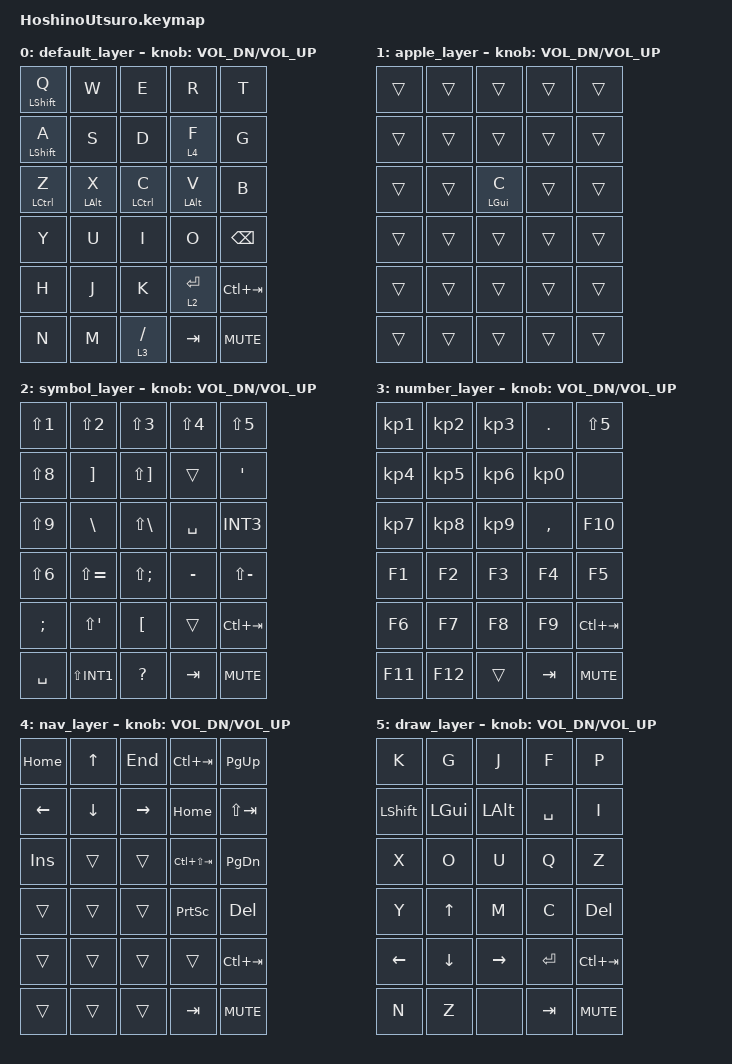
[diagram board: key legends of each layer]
/*
 * HoshinoUtsuro fixed base
 *
 * Physical thumb keys:
 *
 * LThumb = 現在単独で LALT を送っていたキー
 *        = key-position 28
 *        = 現在は TAB
 *
 * RThumb = 現在単独で LGUI を送っていたキー
 *        = key-position 24
 *        = 現在は Ctrl+Tab
 *
 * Encoder push = C_MUTE
 *        = key-position 29
 *        = 親指キーではない
 *
 * BLE / OS mode:
 * BLE0 / Windows  : C hold = LCTRL
 * BLE1 / iPad     : C hold = LGUI + Draw mode default
 * BLE2 / iPhone   : C hold = LGUI
 * BLE3 / MacBook  : C hold = LGUI
 * BLE4 / Default  : C hold = LCTRL
 *
 * Deep sleep restore:
 * Saved BLE profile is restored by profile_layer_restore.c.
 * If saved profile is BLE1, Apple layer + Draw layer are restored automatically.
 *
 * Pointing combo test:
 * ZX = Alt + Left Click hold
 * XC = Alt + Right Click hold
 * ZC = Alt + Middle Click hold
 */

#include <behaviors.dtsi>
#include <dt-bindings/zmk/keys.h>
#include <dt-bindings/zmk/bt.h>
#include <dt-bindings/zmk/pointing.h>

/ {
  behaviors {
    modtap_hp: modtap_hp {
      compatible = "zmk,behavior-hold-tap";
      #binding-cells = <2>;
      flavor = "tap-preferred";
      tapping-term-ms = <120>;
      quick-tap-ms = <0>;
      bindings = <&kp>, <&kp>;
    };

    z_ctrl_hold: z_ctrl_hold {
      compatible = "zmk,behavior-hold-tap";
      #binding-cells = <2>;
      flavor = "tap-preferred";
      tapping-term-ms = <200>;
      quick-tap-ms = <0>;
      bindings = <&kp>, <&kp>;
    };

    a_shift_hold: a_shift_hold {
      compatible = "zmk,behavior-hold-tap";
      #binding-cells = <2>;
      flavor = "tap-preferred";
      tapping-term-ms = <200>;
      quick-tap-ms = <0>;
      bindings = <&kp>, <&kp>;
    };

    f_nav_hold: f_nav_hold {
      compatible = "zmk,behavior-hold-tap";
      #binding-cells = <2>;
      flavor = "balanced";
      tapping-term-ms = <200>;
      hold-trigger-key-positions = <0 1 2 3 4 5 6 7 9 10 11 12 13 14 15 16 17 18 19 20 21 22 23 24 25 26 27 28 29>;
      hold-trigger-on-release;
      bindings = <&mo>, <&kp>;
    };

    l_sym_hold: l_sym_hold {
      compatible = "zmk,behavior-hold-tap";
      #binding-cells = <2>;
      flavor = "balanced";
      tapping-term-ms = <200>;
      hold-trigger-key-positions = <0 1 2 3 4 5 6 7 8 9 10 11 12 13 14 15 16 17 18 19 20 21 22 24 25 26 27 28 29>;
      hold-trigger-on-release;
      bindings = <&mo>, <&kp>;
    };

    slash_num_hold: slash_num_hold {
      compatible = "zmk,behavior-hold-tap";
      #binding-cells = <2>;
      flavor = "balanced";
      tapping-term-ms = <200>;
      hold-trigger-on-release;
      bindings = <&mo>, <&kp>;
    };

    draw_on: draw_on {
      compatible = "zmk,behavior-toggle-layer";
      #binding-cells = <1>;
      toggle-mode = "on";
    };

    draw_off: draw_off {
      compatible = "zmk,behavior-toggle-layer";
      #binding-cells = <1>;
      toggle-mode = "off";
    };

    /*
     * BLE0 = Windows
     */
    bt0_default: bt0_default {
      compatible = "zmk,behavior-macro";
      #binding-cells = <0>;
      wait-ms = <0>;
      tap-ms = <0>;
      bindings =
        <&bt BT_SEL 0>,
        <&to 0>,
        <&bat_led 6>;
    };

    /*
     * BLE1 = iPad
     */
    bt1_draw: bt1_draw {
      compatible = "zmk,behavior-macro";
      #binding-cells = <0>;
      wait-ms = <0>;
      tap-ms = <0>;
      bindings =
        <&bt BT_SEL 1>,
        <&to 1>,
        <&draw_on 5>,
        <&bat_led 6>;
    };

    /*
     * BLE2 = iPhone
     */
    bt2_default: bt2_default {
      compatible = "zmk,behavior-macro";
      #binding-cells = <0>;
      wait-ms = <0>;
      tap-ms = <0>;
      bindings =
        <&bt BT_SEL 2>,
        <&to 1>,
        <&bat_led 6>;
    };

    /*
     * BLE3 = MacBook
     */
    bt3_default: bt3_default {
      compatible = "zmk,behavior-macro";
      #binding-cells = <0>;
      wait-ms = <0>;
      tap-ms = <0>;
      bindings =
        <&bt BT_SEL 3>,
        <&to 1>,
        <&bat_led 6>;
    };

    /*
     * BLE4 = Default
     */
    bt4_default: bt4_default {
      compatible = "zmk,behavior-macro";
      #binding-cells = <0>;
      wait-ms = <0>;
      tap-ms = <0>;
      bindings =
        <&bt BT_SEL 4>,
        <&to 0>,
        <&bat_led 6>;
    };

    /*
     * GHB
     * Draw ON
     */
    draw_mode_led: draw_mode_led {
      compatible = "zmk,behavior-macro";
      #binding-cells = <0>;
      wait-ms = <0>;
      tap-ms = <0>;
      bindings =
        <&bat_led 2>,
        <&draw_on 5>;
    };

    /*
     * GHN
     * Draw OFF
     */
    default_mode_led: default_mode_led {
      compatible = "zmk,behavior-macro";
      #binding-cells = <0>;
      wait-ms = <0>;
      tap-ms = <0>;
      bindings =
        <&bat_led 3>,
        <&draw_off 5>;
    };

    kana_led: kana_led {
      compatible = "zmk,behavior-macro";
      #binding-cells = <0>;
      wait-ms = <0>;
      tap-ms = <0>;
      bindings =
        <&bat_led 4>,
        <&kp LANG1>;
    };

    eisu_led: eisu_led {
      compatible = "zmk,behavior-macro";
      #binding-cells = <0>;
      wait-ms = <0>;
      tap-ms = <0>;
      bindings =
        <&bat_led 5>,
        <&kp LANG2>;
    };

    /*
     * GHA = NumLock
     *
     * LED側に「次のNumLock状態通知を表示する」と伝えてから
     * KP_NUMLOCKを送信する。
     *
     * ON/OFFは推測せず、ホストから返ってきた
     * HID Indicatorを見て赤/緑を決める。
     */
    numlock_toggle: numlock_toggle {
      compatible = "zmk,behavior-macro";
      #binding-cells = <0>;
      wait-ms = <0>;
      tap-ms = <0>;
      bindings =
        <&bat_led 8>,
        <&kp KP_NUMLOCK>;
    };

    /*
     * GHQ = BLE削除 + 赤3回
     */
    bt_clear_led: bt_clear_led {
      compatible = "zmk,behavior-macro";
      #binding-cells = <0>;
      wait-ms = <0>;
      tap-ms = <0>;
      bindings =
        <&bt BT_CLR>,
        <&bat_led 7>;
    };

    alt_left_click: alt_left_click {
      compatible = "zmk,behavior-macro";
      #binding-cells = <0>;
      wait-ms = <0>;
      tap-ms = <0>;
      bindings =
        <&macro_press &kp LALT>,
        <&macro_press &mkp LCLK>,
        <&macro_pause_for_release>,
        <&macro_release &mkp LCLK>,
        <&macro_release &kp LALT>;
    };

    alt_right_click: alt_right_click {
      compatible = "zmk,behavior-macro";
      #binding-cells = <0>;
      wait-ms = <0>;
      tap-ms = <0>;
      bindings =
        <&macro_press &kp LALT>,
        <&macro_press &mkp RCLK>,
        <&macro_pause_for_release>,
        <&macro_release &mkp RCLK>,
        <&macro_release &kp LALT>;
    };

    alt_middle_click: alt_middle_click {
      compatible = "zmk,behavior-macro";
      #binding-cells = <0>;
      wait-ms = <0>;
      tap-ms = <0>;
      bindings =
        <&macro_press &kp LALT>,
        <&macro_press &mkp MCLK>,
        <&macro_pause_for_release>,
        <&macro_release &mkp MCLK>,
        <&macro_release &kp LALT>;
    };
  };


  combos {
    compatible = "zmk,combos";

    combo_op_p {
      timeout-ms = <40>;
      layers = <0 1>;
      key-positions = <18 19>;
      bindings = <&kp P>;
    };

    combo_kl_l {
      timeout-ms = <40>;
      layers = <0 1>;
      key-positions = <22 23>;
      bindings = <&kp L>;
    };

    combo_lo_minus {
      timeout-ms = <40>;
      layers = <0 1>;
      key-positions = <23 18>;
      bindings = <&kp MINUS>;
    };

    /*
     * F + J = Space
     */
    combo_fj_space {
      timeout-ms = <40>;
      layers = <0 1>;
      key-positions = <8 21>;
      bindings = <&kp SPACE>;
    };

    /*
     * J + K = Space
     */
    combo_jk_space {
      timeout-ms = <40>;
      layers = <0 1>;
      key-positions = <21 22>;
      bindings = <&kp SPACE>;
    };

    combo_nm_comma {
      timeout-ms = <40>;
      layers = <0 1>;
      key-positions = <25 26>;
      bindings = <&kp COMMA>;
    };

    combo_mslash_dot {
      timeout-ms = <40>;
      layers = <0 1>;
      key-positions = <26 27>;
      bindings = <&kp DOT>;
    };

    /*
     * Q + W = Escape
     */
    combo_qw_esc {
      timeout-ms = <40>;
      layers = <0 1>;
      key-positions = <0 1>;
      bindings = <&kp ESC>;
    };

    combo_as_tab {
      timeout-ms = <40>;
      layers = <0 1>;
      key-positions = <5 6>;
      bindings = <&kp TAB>;
    };

    /*
     * P + L = Delete
     *
     * 旧 P+L = Ctrl は削除
     */
    combo_pl_delete {
      timeout-ms = <40>;
      layers = <0 1>;
      key-positions = <19 23>;
      bindings = <&kp DEL>;
    };

    combo_lslash_alt {
      timeout-ms = <40>;
      layers = <0 1>;
      key-positions = <23 27>;
      bindings = <&kp LALT>;
    };

    combo_pslash_gui {
      timeout-ms = <40>;
      layers = <0 1>;
      key-positions = <19 27>;
      bindings = <&kp LGUI>;
    };

    /*
     * U + I = 英数
     */
    combo_ui_eisu {
      timeout-ms = <35>;
      require-prior-idle-ms = <150>;
      layers = <0 1>;
      key-positions = <16 17>;
      bindings = <&eisu_led>;
    };

    /*
     * E + R = かな
     */
    combo_er_kana {
      timeout-ms = <35>;
      require-prior-idle-ms = <150>;
      layers = <0 1>;
      key-positions = <2 3>;
      bindings = <&kana_led>;
    };

    combo_zx_alt_left_click {
      timeout-ms = <40>;
      layers = <0 1>;
      key-positions = <10 11>;
      bindings = <&alt_left_click>;
    };

    combo_xc_alt_right_click {
      timeout-ms = <40>;
      layers = <0 1>;
      key-positions = <11 12>;
      bindings = <&alt_right_click>;
    };

    combo_zc_alt_middle_click {
      timeout-ms = <40>;
      layers = <0 1>;
      key-positions = <10 12>;
      bindings = <&alt_middle_click>;
    };


    /*
     * Vキー起点 数字・小数点コンボ
     *
     * 0～9 = テンキー
     * V+R = テンキー .
     *
     * NumLock ON前提
     */

    combo_vq_1 {
      timeout-ms = <40>;
      layers = <0 1>;
      key-positions = <13 0>;
      bindings = <&kp KP_N1>;
    };

    combo_vw_2 {
      timeout-ms = <40>;
      layers = <0 1>;
      key-positions = <13 1>;
      bindings = <&kp KP_N2>;
    };

    combo_ve_3 {
      timeout-ms = <40>;
      layers = <0 1>;
      key-positions = <13 2>;
      bindings = <&kp KP_N3>;
    };

    combo_vr_dot {
      timeout-ms = <40>;
      layers = <0 1>;
      key-positions = <13 3>;
      bindings = <&kp KP_DOT>;
    };

    combo_va_4 {
      timeout-ms = <40>;
      layers = <0 1>;
      key-positions = <13 5>;
      bindings = <&kp KP_N4>;
    };

    combo_vs_5 {
      timeout-ms = <40>;
      layers = <0 1>;
      key-positions = <13 6>;
      bindings = <&kp KP_N5>;
    };

    combo_vd_6 {
      timeout-ms = <40>;
      layers = <0 1>;
      key-positions = <13 7>;
      bindings = <&kp KP_N6>;
    };

    combo_vf_0 {
      timeout-ms = <40>;
      layers = <0 1>;
      key-positions = <13 8>;
      bindings = <&kp KP_N0>;
    };

    combo_vz_7 {
      timeout-ms = <40>;
      layers = <0 1>;
      key-positions = <13 10>;
      bindings = <&kp KP_N7>;
    };

    combo_vx_8 {
      timeout-ms = <40>;
      layers = <0 1>;
      key-positions = <13 11>;
      bindings = <&kp KP_N8>;
    };

    combo_vc_9 {
      timeout-ms = <40>;
      layers = <0 1>;
      key-positions = <13 12>;
      bindings = <&kp KP_N9>;
    };


    /*
     * BLE switching
     */

    /*
     * GHP = BLE0 Windows
     * 青3回点滅
     */
    combo_ghp_bt0 {
      timeout-ms = <50>;
      layers = <0 1 2 3 4 5>;
      key-positions = <9 20 19>;
      bindings = <&bt0_default>;
    };

    /*
     * GHL = BLE1 iPad + Draw
     * 青3回点滅
     */
    combo_ghl_bt1 {
      timeout-ms = <50>;
      layers = <0 1 2 3 4 5>;
      key-positions = <9 20 23>;
      bindings = <&bt1_draw>;
    };

    /*
     * GHSlash = BLE2 iPhone
     * 青3回点滅
     */
    combo_ghslash_bt2 {
      timeout-ms = <50>;
      layers = <0 1 2 3 4 5>;
      key-positions = <9 20 27>;
      bindings = <&bt2_default>;
    };

    /*
     * GHO = BLE3 MacBook
     * 青3回点滅
     */
    combo_gho_bt3 {
      timeout-ms = <50>;
      layers = <0 1 2 3 4 5>;
      key-positions = <9 20 18>;
      bindings = <&bt3_default>;
    };

    /*
     * GHM = BLE4 Default
     * 青3回点滅
     */
    combo_ghm_bt4 {
      timeout-ms = <50>;
      layers = <0 1 2 3 4 5>;
      key-positions = <9 20 26>;
      bindings = <&bt4_default>;
    };

    /*
     * GHQ = BLE clear
     * 赤3回点滅
     */
    combo_ghq_btclr {
      timeout-ms = <50>;
      layers = <0 1 2 3 4 5>;
      key-positions = <9 20 0>;
      bindings = <&bt_clear_led>;
    };

    /*
     * GHA = NumLock
     *
     * ON  → 赤3回
     * OFF → 緑3回
     *
     * ホストから返された実状態で判定
     */
    combo_gha_numlock {
      timeout-ms = <50>;
      layers = <0 1 2 3 4 5>;
      key-positions = <9 20 5>;
      bindings = <&numlock_toggle>;
    };

    /*
     * GHV = Battery LED
     */
    combo_ghv_battery_led {
      timeout-ms = <60>;
      layers = <0 1 2 3 4 5>;
      key-positions = <9 20 13>;
      bindings = <&bat_led 0>;
    };

    /*
     * GHC = LED check
     */
    combo_ghc_led_check {
      timeout-ms = <60>;
      layers = <0 1 2 3 4 5>;
      key-positions = <9 20 12>;
      bindings = <&bat_led 1>;
    };

    /*
     * GHB = Draw ON
     */
    combo_ghb_draw {
      timeout-ms = <60>;
      layers = <0 1 2 3 4 5>;
      key-positions = <9 20 14>;
      bindings = <&draw_mode_led>;
    };

    /*
     * GHN = Draw OFF
     */
    combo_ghn_default {
      timeout-ms = <60>;
      layers = <0 1 2 3 4 5>;
      key-positions = <9 20 25>;
      bindings = <&default_mode_led>;
    };


    /*
     * Draw layer専用コンボ
     */

    /*
     * Q + W = Escape
     */
    combo_draw_qw_esc {
      timeout-ms = <40>;
      layers = <5>;
      key-positions = <0 1>;
      bindings = <&kp ESC>;
    };

    /*
     * E + R = Enter
     */
    combo_draw_er_enter {
      timeout-ms = <40>;
      layers = <5>;
      key-positions = <2 3>;
      bindings = <&kp ENTER>;
    };

    /*
     * Z + X = B
     */
    combo_draw_zx_b {
      timeout-ms = <40>;
      layers = <5>;
      key-positions = <10 11>;
      bindings = <&kp B>;
    };

    /*
     * C + V = C
     */
    combo_draw_cv_c {
      timeout-ms = <40>;
      layers = <5>;
      key-positions = <12 13>;
      bindings = <&kp C>;
    };
  };


  keymap {
    compatible = "zmk,keymap";


    /*
     * Layer 0
     * Default / Windows
     */
    default_layer {
      bindings = <
        &modtap_hp LSHIFT Q          &kp W                     &kp E                  &kp R                 &kp T
        &a_shift_hold LSHIFT A       &kp S                     &kp D                  &f_nav_hold 4 F       &kp G
        &z_ctrl_hold LCTRL Z         &modtap_hp LALT X         &modtap_hp LCTRL C     &modtap_hp LALT V     &kp B
        &kp Y                        &kp U                     &kp I                  &kp O                 &kp BSPC
        &kp H                        &kp J                     &kp K                  &l_sym_hold 2 ENTER   &kp LC(TAB)
        &kp N                        &kp M                     &slash_num_hold 3 FSLH &kp TAB               &kp C_MUTE
      >;

      sensor-bindings = <&inc_dec_kp C_VOL_DN C_VOL_UP>;
    };


    /*
     * Layer 1
     * Apple mode
     */
    apple_layer {
      bindings = <
        &trans                     &trans                     &trans                 &trans                &trans
        &trans                     &trans                     &trans                 &trans                &trans
        &trans                     &trans                     &modtap_hp LGUI C      &trans                &trans
        &trans                     &trans                     &trans                 &trans                &trans
        &trans                     &trans                     &trans                 &trans                &trans
        &trans                     &trans                     &trans                 &trans                &trans
      >;

      sensor-bindings = <&inc_dec_kp C_VOL_DN C_VOL_UP>;
    };


    /*
     * Layer 2
     * Symbol
     */
    symbol_layer {
      bindings = <
        &kp LS(N1)                   &kp LS(N2)                &kp LS(N3)             &kp LS(N4)            &kp LS(N5)
        &kp LS(N8)                   &kp RBKT                  &kp LS(RBKT)           &trans                &kp APOS
        &kp LS(N9)                   &kp BSLH                  &kp LS(BSLH)           &kp SPACE             &kp INT3
        &kp LS(N6)                   &kp LS(EQUAL)             &kp LS(SEMI)           &kp MINUS             &kp LS(MINUS)
        &kp SEMI                     &kp LS(APOS)              &kp LBKT               &trans                &kp LC(TAB)
        &kp SPACE                    &kp LS(INT1)              &kp QMARK              &kp TAB               &kp C_MUTE
      >;

      sensor-bindings = <&inc_dec_kp C_VOL_DN C_VOL_UP>;
    };


    /*
     * Layer 3
     * Number
     *
     * 0～9 = テンキー入力
     * NumLockはGHAで切替
     *
     * G位置は空き
     */
    number_layer {
      bindings = <
        &kp KP_N1                    &kp KP_N2                 &kp KP_N3              &kp DOT               &kp LS(N5)
        &kp KP_N4                    &kp KP_N5                 &kp KP_N6              &kp KP_N0             &none
        &kp KP_N7                    &kp KP_N8                 &kp KP_N9              &kp COMMA             &kp F10
        &kp F1                       &kp F2                    &kp F3                 &kp F4                &kp F5
        &kp F6                       &kp F7                    &kp F8                 &kp F9                &kp LC(TAB)
        &kp F11                      &kp F12                   &trans                 &kp TAB               &kp C_MUTE
      >;

      sensor-bindings = <&inc_dec_kp C_VOL_DN C_VOL_UP>;
    };


    /*
     * Layer 4
     * Navigation
     */
    nav_layer {
      bindings = <
        &kp HOME                     &kp UP                    &kp END                &kp LC(TAB)           &kp PG_UP
        &kp LEFT                     &kp DOWN                  &kp RIGHT              &kp HOME              &kp LS(TAB)
        &kp INS                      &trans                    &trans                 &kp LC(LS(TAB))       &kp PG_DN
        &trans                       &trans                    &trans                 &kp PSCRN             &kp DEL
        &trans                       &trans                    &trans                 &trans                &kp LC(TAB)
        &trans                       &trans                    &trans                 &kp TAB               &kp C_MUTE
      >;

      sensor-bindings = <&inc_dec_kp C_VOL_DN C_VOL_UP>;
    };


    /*
     * Layer 5
     * Draw
     */
    draw_layer {
      bindings = <
        &kp K                        &kp G                     &kp J                  &kp F                 &kp P
        &kp LSHIFT                   &kp LGUI                  &kp LALT               &kp SPACE             &kp I
        &kp X                        &kp O                     &kp U                  &kp Q                 &kp Z
        &kp Y                        &kp UP                    &kp M                  &kp C                 &kp DEL
        &kp LEFT                     &kp DOWN                  &kp RIGHT              &kp ENTER             &kp LC(TAB)
        &kp N                        &kp Z                     &none                  &kp TAB               &kp C_MUTE
      >;

      sensor-bindings = <&inc_dec_kp C_VOL_DN C_VOL_UP>;
    };
  };
};
